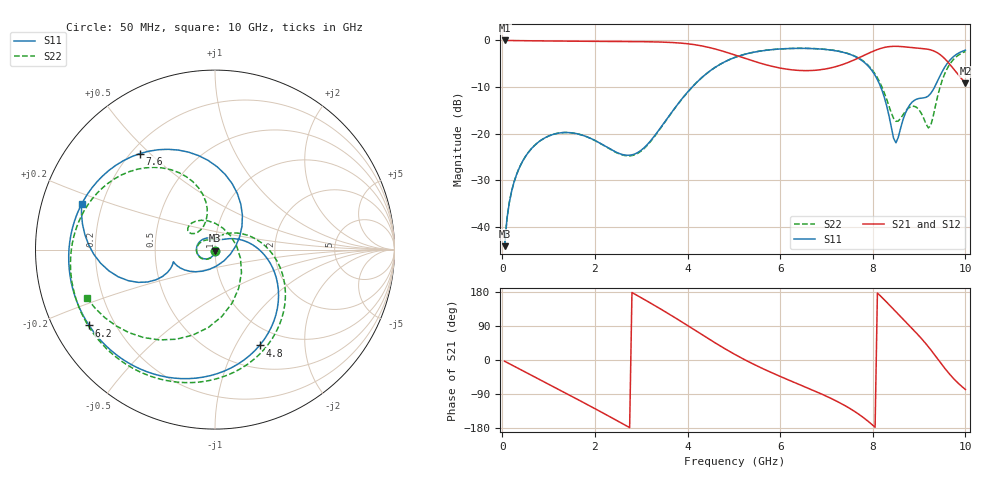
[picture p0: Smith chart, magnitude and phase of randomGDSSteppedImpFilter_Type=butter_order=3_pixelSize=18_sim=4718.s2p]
! freq	dB(S11)	phase(S11)	dB(S12)	phase(S12)
!  dB(S21)	phase(S21)	dB(S22)	phase(S22)
!S-par simulation data
#  GHz  S  DB  R 50
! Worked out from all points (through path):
!   200 points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, 50 MHz to 10 GHz, reference 50 ohm
!   highest |S21| = -0.01 dB at 50 MHz (marker M1); lowest = -9.2 dB at 10 GHz (marker M2)
!   group delay of S21, straight-line fit = 204 ps
!   lowest |S11| = -44.1 dB at 50 MHz (marker M3), VSWR 1.01, Z = 50 - j0.625 ohm
!   |S11| at or under -10 dB: start of sweep to 4.099 GHz; 8.172 GHz to 9.334 GHz (1.162 GHz wide, 13.3 % of centre)
!   |S22| runs from -44.1 to -1.7 dB; largest |S21 - S12| = 0
!   S11 on the Smith chart (normalised r, x): 50 MHz: 1.00, -0.01; 4.8 GHz: 0.77, -1.26; 6.2 GHz: 0.11, -0.28; 7.6 GHz: 0.23, +0.47; 10 GHz: 0.12, +0.16
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0.05  -44.08 -88.8  -0.01 -3.3  -0.01 -3.3  -44.08 -88.6
0.2  -32.36 -102.1  -0.03 -12.9  -0.03 -12.9  -32.36 -101.5
0.55  -24.16 -126.3  -0.07 -35.2  -0.07 -35.2  -24.15 -124.5
1.15  -19.99 -166.4  -0.13 -73.5  -0.13 -73.5  -19.99 -162.0
1.75  -20.37 152.3  -0.18 -112.1  -0.18 -112.1  -20.37 161.7
2.6  -24.46 86.4  -0.22 -168.3  -0.22 -168.3  -24.56 112.7
3.4  -18.95 32.8  -0.34 136.0  -0.34 136.0  -19.06 53.2
4.05  -10.53 -10.2  -0.77 87.2  -0.77 87.2  -10.55 0.6
4.8  -4.60 -65.0  -2.42 30.3  -2.42 30.3  -4.60 -57.1
5.05  -3.54 -82.2  -3.22 12.8  -3.22 12.8  -3.54 -74.5
5.6  -2.24 -116.3  -4.96 -21.3  -4.96 -21.3  -2.23 -108.4
6.2  -1.74 -148.9  -6.24 -53.6  -6.24 -53.6  -1.72 -140.0
6.7  -1.75 -175.1  -6.43 -79.4  -6.43 -79.4  -1.73 -164.7
7.6  -3.36 128.1  -4.17 -135.1  -4.17 -135.1  -3.30 144.6
7.95  -6.05 94.4  -2.56 -166.8  -2.56 -166.8  -5.87 119.0
8.35  -16.14 27.8  -1.33 146.3  -1.33 146.3  -14.08 102.7
8.5  -21.93 -51.7  -1.25 127.3  -1.25 127.3  -17.33 125.5
8.85  -13.22 -152.0  -1.54 83.0  -1.54 83.0  -14.10 137.2
9.2  -11.90 -159.7  -1.91 35.0  -1.91 35.0  -18.73 42.2
9.3  -10.63 -154.3  -2.19 19.4  -2.19 19.4  -16.46 -18.9
9.65  -4.40 -168.6  -4.96 -36.1  -4.96 -36.1  -5.29 -113.4
10  -2.09 161.0  -9.20 -77.6  -9.20 -77.6  -2.36 -159.1
